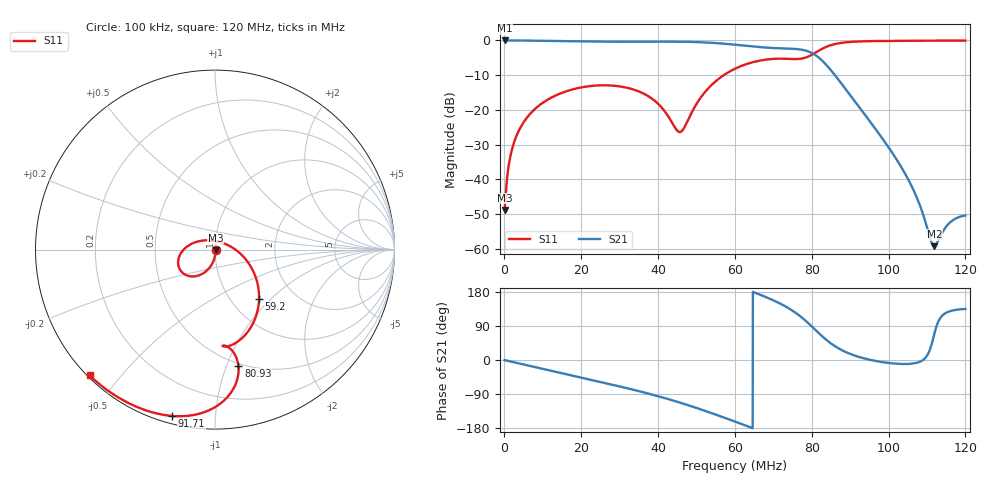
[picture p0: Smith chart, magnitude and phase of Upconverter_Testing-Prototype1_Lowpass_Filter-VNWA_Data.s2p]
! ListType=Lin
# MHZ S DB R 50
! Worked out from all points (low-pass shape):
!   2048 points, 100 kHz to 120 MHz, reference 50 ohm
!   highest |S21| = -0.06 dB at 100 kHz (marker M1); lowest = -59.3 dB at 111.9 MHz (marker M2)
!   |S21| within 3 dB of the highest: start of sweep to 78.7 MHz
!   lowest |S11| = -48.8 dB at 100 kHz (marker M3), VSWR 1.01, Z = 50.3 - j0.147 ohm
!   |S11| at or under -10 dB: start of sweep to 57.19 MHz
!   S12 and S22 are empty: the file has one direction only
!   S11 on the Smith chart (normalised r, x): 100 kHz: 1.01, -0.00; 59.2 MHz: 1.34, -0.85; 80.93 MHz: 0.48, -1.10; 91.71 MHz: 0.04, -0.77; 120 MHz: 0.01, -0.41
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0.1  -48.84 -23.9  -0.06 -0.3  -3000.00 -90.0  -3000.00 -90.0
1.915779  -31.87 -85.9  -0.07 -4.6  -3000.00 -90.0  -3000.00 -90.0
5.137323  -23.45 -98.4  -0.09 -12.1  -3000.00 -90.0  -3000.00 -90.0
11.22897  -17.14 -114.3  -0.18 -26.2  -3000.00 -90.0  -3000.00 -90.0
20.13214  -13.56 -136.0  -0.34 -46.6  -3000.00 -90.0  -3000.00 -90.0
31.78828  -13.62 -166.5  -0.44 -74.0  -3000.00 -90.0  -3000.00 -90.0
40.10572  -18.35 161.1  -0.41 -95.8  -3000.00 -90.0  -3000.00 -90.0
45.96307  -26.34 69.0  -0.43 -113.2  -3000.00 -90.0  -3000.00 -90.0
52.28901  -14.84 -17.8  -0.64 -134.3  -3000.00 -90.0  -3000.00 -90.0
59.20068  -8.68 -48.2  -1.20 -159.3  -3000.00 -90.0  -3000.00 -90.0
60.07929  -8.19 -51.4  -1.29 -162.6  -3000.00 -90.0  -3000.00 -90.0
72.32115  -5.30 -83.9  -2.35 146.2  -3000.00 -90.0  -3000.00 -90.0
77.18276  -5.32 -83.2  -2.68 114.2  -3000.00 -90.0  -3000.00 -90.0
80.05286  -4.16 -78.7  -3.67 88.4  -3000.00 -90.0  -3000.00 -90.0
80.93146  -3.59 -78.6  -4.24 79.8  -3000.00 -90.0  -3000.00 -90.0
84.50445  -1.59 -85.8  -7.96 47.6  -3000.00 -90.0  -3000.00 -90.0
91.70899  -0.38 -104.4  -18.27 9.9  -3000.00 -90.0  -3000.00 -90.0
100.0264  -0.18 -117.4  -30.83 -7.8  -3000.00 -90.0  -3000.00 -90.0
106.4109  -0.13 -124.3  -42.91 -9.3  -3000.00 -90.0  -3000.00 -90.0
111.9169  -0.11 -129.0  -59.25 68.8  -3000.00 -90.0  -3000.00 -90.0
115.8413  -0.10 -132.0  -52.58 128.4  -3000.00 -90.0  -3000.00 -90.0
120  -0.10 -135.0  -50.42 134.6  -3000.00 -90.0  -3000.00 -90.0
